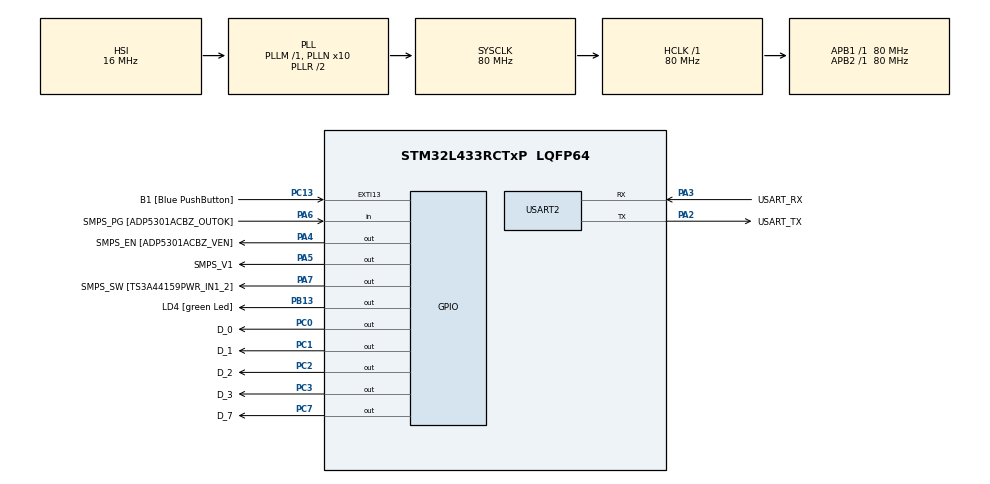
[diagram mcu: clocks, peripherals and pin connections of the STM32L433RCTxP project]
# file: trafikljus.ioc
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Mcu.Family=STM32L4
Mcu.Name=STM32L433RCTxP
Mcu.Package=LQFP64
NVIC.EXTI15_10_IRQn=true\:0\:0\:false\:false\:true\:true\:true\:true
NVIC.PriorityGroup=NVIC_PRIORITYGROUP_4
PA13\ (JTMS-SWDIO).GPIO_Label=TMS
PA13\ (JTMS-SWDIO).Mode=Serial_Wire
PA13\ (JTMS-SWDIO).Signal=SYS_JTMS-SWDIO
PA14\ (JTCK-SWCLK).GPIO_Label=TCK
PA14\ (JTCK-SWCLK).Mode=Serial_Wire
PA14\ (JTCK-SWCLK).Signal=SYS_JTCK-SWCLK
PA2.GPIO_Label=USART_TX
PA2.GPIO_Mode=GPIO_MODE_AF_PP
PA2.GPIO_PuPd=GPIO_NOPULL
PA2.GPIO_Speed=GPIO_SPEED_FREQ_VERY_HIGH
PA2.Mode=Asynchronous
PA2.Signal=USART2_TX
PA3.GPIO_Label=USART_RX
PA3.GPIO_Mode=GPIO_MODE_AF_PP
PA3.GPIO_PuPd=GPIO_NOPULL
PA3.GPIO_Speed=GPIO_SPEED_FREQ_VERY_HIGH
PA3.Mode=Asynchronous
PA3.Signal=USART2_RX
PA4.GPIO_Label=SMPS_EN [ADP5301ACBZ_VEN]
PA4.Signal=GPIO_Output
PA5.GPIO_Label=SMPS_V1
PA5.GPIO_ModeDefaultOutputPP=GPIO_MODE_OUTPUT_PP
PA5.GPIO_PuPd=GPIO_NOPULL
PA5.GPIO_Speed=GPIO_SPEED_FREQ_LOW
PA5.Signal=GPIO_Output
PA6.GPIO_Label=SMPS_PG [ADP5301ACBZ_OUTOK]
PA6.GPIO_PuPd=GPIO_PULLUP
PA6.Signal=GPIO_Input
PA7.GPIO_Label=SMPS_SW [TS3A44159PWR_IN1_2]
PA7.Signal=GPIO_Output
PB13.GPIO_Label=LD4 [green Led]
PB13.Signal=GPIO_Output
PB3\ (JTDO-TRACESWO).GPIO_Label=SWO
PB3\ (JTDO-TRACESWO).Signal=SYS_JTDO-SWO
PC0.GPIO_Label=D_0
PC0.Signal=GPIO_Output
PC1.GPIO_Label=D_1
PC1.Signal=GPIO_Output
PC13.GPIO_Label=B1 [Blue PushButton]
PC13.GPIO_ModeDefaultEXTI=GPIO_MODE_IT_FALLING
PC13.GPIO_PuPd=GPIO_NOPULL
PC13.Signal=GPXTI13
PC14-OSC32_IN\ (PC14).Mode=LSE-External-Oscillator
PC14-OSC32_IN\ (PC14).Signal=RCC_OSC32_IN
PC15-OSC32_OUT\ (PC15).Mode=LSE-External-Oscillator
PC15-OSC32_OUT\ (PC15).Signal=RCC_OSC32_OUT
PC2.GPIO_Label=D_2
PC2.Signal=GPIO_Output
PC3.GPIO_Label=D_3
PC3.Signal=GPIO_Output
PC7.GPIO_Label=D_7
PC7.Signal=GPIO_Output
PH0-OSC_IN\ (PH0).GPIO_Label=MCO
PH0-OSC_IN\ (PH0).Mode=HSE-External-Clock-Source
PH0-OSC_IN\ (PH0).Signal=RCC_OSC_IN
PH1-OSC_OUT\ (PH1).Signal=RCC_OSC_OUT
ProjectManager.HeapSize=0x200
ProjectManager.StackSize=0x400
ProjectManager.TargetToolchain=STM32CubeIDE
RCC.ADCFreq_Value=64000000
RCC.AHBFreq_Value=80000000
RCC.APB1Freq_Value=80000000
RCC.APB1TimFreq_Value=80000000
RCC.APB2Freq_Value=80000000
RCC.APB2TimFreq_Value=80000000
RCC.CortexFreq_Value=80000000
RCC.HCLKFreq_Value=80000000
RCC.HSE_VALUE=8000000
RCC.HSI48_VALUE=48000000
RCC.HSI_VALUE=16000000
RCC.MSI_VALUE=4000000
RCC.PLLN=10
RCC.PLLSourceVirtual=RCC_PLLSOURCE_HSI
RCC.PREFETCH_ENABLE=1
RCC.SYSCLKFreq_VALUE=80000000
RCC.SYSCLKSource=RCC_SYSCLKSOURCE_PLLCLK
RCC.USBFreq_Value=64000000
RCC.VCOOutputFreq_Value=160000000
USART2.VirtualMode-Asynchronous=VM_ASYNC
board=NUCLEO-L433RC-P

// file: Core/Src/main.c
/* USER CODE BEGIN Header */
/**
  ******************************************************************************
  * @file           : main.c
  * @brief          : Main program body
  ******************************************************************************
  * @attention
  *
  * Copyright (c) 2026 STMicroelectronics.
  * All rights reserved.
  *
  * This software is licensed under terms that can be found in the LICENSE file
  * in the root directory of this software component.
  * If no LICENSE file comes with this software, it is provided AS-IS.
  *
  ******************************************************************************
  */
/* USER CODE END Header */
#include "main.h"

/* USER CODE BEGIN Includes */
#include "trafikljus.h"
#include "eventState.h"
#include "eventQueue.h"
/* USER CODE END Includes */

/* USER CODE BEGIN PTD */
int is_button_pressed(void){
	return GPIOC->IDR & 1 << 13;
}
void handle_tick(enum event* pEvent, uint32_t* pLastTimeStamp, uint32_t* pCountdown) {
	uint32_t curr_tick_stamp = HAL_GetTick();
	if (curr_tick_stamp - *pLastTimeStamp > 0) {
		if (curr_tick_stamp - *pLastTimeStamp >= *pCountdown) {
			*pCountdown = 0;
			*pEvent = ev_state_timeout;
		}
		else {
			*pCountdown -= curr_tick_stamp - *pLastTimeStamp;
		}
		*pLastTimeStamp = curr_tick_stamp;
	}
}
void handle_button(enum event* pEvent, int* pLastButtonState){
	int curr_press = is_button_pressed();
	int pressed = curr_press && !*pLastButtonState;
	if ( pressed ) *pEvent = ev_button_push;
	*pLastButtonState = curr_press;
}
struct HANDLE_STATE_DESC {
	enum state* pState;
	enum event event;
	uint32_t* pLastTick;
	uint32_t* pTickLeft;
	int* pStateJustTransitioned;
};
void handle_state(struct HANDLE_STATE_DESC desc){
	switch(*desc.pState){
		case s_init:
			if (desc.event == ev_button_push) {
				*desc.pState = s_people_walk;
				*desc.pLastTick = HAL_GetTick();
			}
			break;
		case s_people_walk:
			if (!*desc.pStateJustTransitioned) {
				*desc.pTickLeft = 10000;
				*desc.pStateJustTransitioned = 1;
			}
			if (desc.event == ev_state_timeout) {
				*desc.pState = s_car_standing_by;
				*desc.pStateJustTransitioned = 0;
			}
			break;
		case s_car_standing_by:
			if (!*desc.pStateJustTransitioned) {
				*desc.pTickLeft = 2000;
				*desc.pStateJustTransitioned = 1;
			}
			if (desc.event == ev_state_timeout) {
				*desc.pState = s_people_stop;
				*desc.pStateJustTransitioned = 0;
			}
			break;
		case s_people_stop:
			if (!*desc.pStateJustTransitioned){
				*desc.pTickLeft = 1000;
				*desc.pStateJustTransitioned = 1;
			}
			if (desc.event == ev_state_timeout) {
				*desc.pState = s_car_go;
				*desc.pStateJustTransitioned = 0;
			}
			break;
		case s_car_go:
			if (desc.event == ev_button_push){
				*desc.pState = s_pushed_wait;
				*desc.pLastTick = HAL_GetTick();
			}
			break;
		case s_pushed_wait:
			if (!*desc.pStateJustTransitioned){
				*desc.pTickLeft = 2000;
				*desc.pStateJustTransitioned = 1;
			}
			if (desc.event == ev_state_timeout) {
				*desc.pState = s_car_is_about_to_stop;
				*desc.pStateJustTransitioned = 0;
			}
			break;
		case s_car_is_about_to_stop:
			if (!*desc.pStateJustTransitioned){
				*desc.pTickLeft = 1000;
				*desc.pStateJustTransitioned = 1;
			}
			if (desc.event == ev_state_timeout) {
				*desc.pState = s_car_stop;
				*desc.pStateJustTransitioned = 0;
			}
			break;
		case s_car_stop:
			if (!*desc.pStateJustTransitioned){
				*desc.pTickLeft = 2000;
				*desc.pStateJustTransitioned = 1;
			}
			if (desc.event == ev_state_timeout) {
				*desc.pState = s_people_walk;
				*desc.pStateJustTransitioned = 0;
			}
			break;
		default: break;
	  }
}
/* USER CODE END PTD */

UART_HandleTypeDef huart2;

void SystemClock_Config(void);
static void MX_GPIO_Init(void);
static void MX_USART2_UART_Init(void);

int main(void)
{

  /* MCU Configuration--------------------------------------------------------*/

  /* Reset of all peripherals, Initializes the Flash interface and the Systick. */
  HAL_Init();

  /* USER CODE BEGIN Init */
  int _initialized = 0;
  int curr_press, last_press;
  curr_press = last_press = 0;
  enum state state = s_init;
  enum event event = ev_none;
  uint32_t ticks_left_in_state, curr_tick, last_tick;
  ticks_left_in_state = curr_tick = last_tick = 0;
  /* USER CODE END Init */

  /* Configure the system clock */
  SystemClock_Config();

  /* Initialize all configured peripherals */
  MX_GPIO_Init();
  MX_USART2_UART_Init();

  /* Infinite loop */
  while (1)
  {

    /* USER CODE BEGIN 3 */
	  event = ev_none; // clear the previous event.
	  // handle timeout;
	  handle_tick(&event, &last_tick, &ticks_left_in_state);
	  // handle button press;
	  handle_button(&event, &last_press);
	  // FSM;
	  struct HANDLE_STATE_DESC handle_state_desc = {};
	  handle_state_desc.event = event;
	  handle_state_desc.pLastTick = &last_tick;
	  handle_state_desc.pState = &state;
	  handle_state_desc.pStateJustTransitioned = &_initialized;
	  handle_state_desc.pTickLeft = &ticks_left_in_state;
	  handle_state(handle_state_desc);
	  set_traffic_lights(state);
  }
  /* USER CODE END 3 */
}

void SystemClock_Config(void)
{
  RCC_OscInitTypeDef RCC_OscInitStruct = {0};
  RCC_ClkInitTypeDef RCC_ClkInitStruct = {0};

  /** Configure the main internal regulator output voltage
  */
  if (HAL_PWREx_ControlVoltageScaling(PWR_REGULATOR_VOLTAGE_SCALE1) != HAL_OK)
  {
    Error_Handler();
  }

  /** Initializes the RCC Oscillators according to the specified parameters
  * in the RCC_OscInitTypeDef structure.
  */
  RCC_OscInitStruct.OscillatorType = RCC_OSCILLATORTYPE_HSI;
  RCC_OscInitStruct.HSIState = RCC_HSI_ON;
  RCC_OscInitStruct.HSICalibrationValue = RCC_HSICALIBRATION_DEFAULT;
  RCC_OscInitStruct.PLL.PLLState = RCC_PLL_ON;
  RCC_OscInitStruct.PLL.PLLSource = RCC_PLLSOURCE_HSI;
  RCC_OscInitStruct.PLL.PLLM = 1;
  RCC_OscInitStruct.PLL.PLLN = 10;
  RCC_OscInitStruct.PLL.PLLP = RCC_PLLP_DIV7;
  RCC_OscInitStruct.PLL.PLLQ = RCC_PLLQ_DIV2;
  RCC_OscInitStruct.PLL.PLLR = RCC_PLLR_DIV2;
  if (HAL_RCC_OscConfig(&RCC_OscInitStruct) != HAL_OK)
  {
    Error_Handler();
  }

  /** Initializes the CPU, AHB and APB buses clocks
  */
  RCC_ClkInitStruct.ClockType = RCC_CLOCKTYPE_HCLK|RCC_CLOCKTYPE_SYSCLK
                              |RCC_CLOCKTYPE_PCLK1|RCC_CLOCKTYPE_PCLK2;
  RCC_ClkInitStruct.SYSCLKSource = RCC_SYSCLKSOURCE_PLLCLK;
  RCC_ClkInitStruct.AHBCLKDivider = RCC_SYSCLK_DIV1;
  RCC_ClkInitStruct.APB1CLKDivider = RCC_HCLK_DIV1;
  RCC_ClkInitStruct.APB2CLKDivider = RCC_HCLK_DIV1;

  if (HAL_RCC_ClockConfig(&RCC_ClkInitStruct, FLASH_LATENCY_4) != HAL_OK)
  {
    Error_Handler();
  }
}

static void MX_USART2_UART_Init(void)
{

  huart2.Instance = USART2;
  huart2.Init.BaudRate = 115200;
  huart2.Init.WordLength = UART_WORDLENGTH_8B;
  huart2.Init.StopBits = UART_STOPBITS_1;
  huart2.Init.Parity = UART_PARITY_NONE;
  huart2.Init.Mode = UART_MODE_TX_RX;
  huart2.Init.HwFlowCtl = UART_HWCONTROL_NONE;
  huart2.Init.OverSampling = UART_OVERSAMPLING_16;
  huart2.Init.OneBitSampling = UART_ONE_BIT_SAMPLE_DISABLE;
  huart2.AdvancedInit.AdvFeatureInit = UART_ADVFEATURE_NO_INIT;
  if (HAL_UART_Init(&huart2) != HAL_OK)
  {
    Error_Handler();
  }

}

static void MX_GPIO_Init(void)
{
  GPIO_InitTypeDef GPIO_InitStruct = {0};

  /* GPIO Ports Clock Enable */
  __HAL_RCC_GPIOC_CLK_ENABLE();
  __HAL_RCC_GPIOH_CLK_ENABLE();
  __HAL_RCC_GPIOA_CLK_ENABLE();
  __HAL_RCC_GPIOB_CLK_ENABLE();

  /*Configure GPIO pin Output Level */
  HAL_GPIO_WritePin(GPIOC, D_0_Pin|D_1_Pin|D_2_Pin|D_3_Pin
                          |D_7_Pin, GPIO_PIN_RESET);

  /*Configure GPIO pin Output Level */
  HAL_GPIO_WritePin(GPIOA, SMPS_EN_Pin|SMPS_V1_Pin|SMPS_SW_Pin, GPIO_PIN_RESET);

  /*Configure GPIO pin Output Level */
  HAL_GPIO_WritePin(LD4_GPIO_Port, LD4_Pin, GPIO_PIN_RESET);

  /*Configure GPIO pin : B1_Pin */
  GPIO_InitStruct.Pin = B1_Pin;
  GPIO_InitStruct.Mode = GPIO_MODE_IT_FALLING;
  GPIO_InitStruct.Pull = GPIO_NOPULL;
  HAL_GPIO_Init(B1_GPIO_Port, &GPIO_InitStruct);

  /*Configure GPIO pins : D_0_Pin D_1_Pin D_2_Pin D_3_Pin
                           D_7_Pin */
  GPIO_InitStruct.Pin = D_0_Pin|D_1_Pin|D_2_Pin|D_3_Pin
                          |D_7_Pin;
  GPIO_InitStruct.Mode = GPIO_MODE_OUTPUT_PP;
  GPIO_InitStruct.Pull = GPIO_NOPULL;
  GPIO_InitStruct.Speed = GPIO_SPEED_FREQ_LOW;
  HAL_GPIO_Init(GPIOC, &GPIO_InitStruct);

  /*Configure GPIO pins : SMPS_EN_Pin SMPS_V1_Pin SMPS_SW_Pin */
  GPIO_InitStruct.Pin = SMPS_EN_Pin|SMPS_V1_Pin|SMPS_SW_Pin;
  GPIO_InitStruct.Mode = GPIO_MODE_OUTPUT_PP;
  GPIO_InitStruct.Pull = GPIO_NOPULL;
  GPIO_InitStruct.Speed = GPIO_SPEED_FREQ_LOW;
  HAL_GPIO_Init(GPIOA, &GPIO_InitStruct);

  /*Configure GPIO pin : SMPS_PG_Pin */
  GPIO_InitStruct.Pin = SMPS_PG_Pin;
  GPIO_InitStruct.Mode = GPIO_MODE_INPUT;
  GPIO_InitStruct.Pull = GPIO_PULLUP;
  HAL_GPIO_Init(SMPS_PG_GPIO_Port, &GPIO_InitStruct);

  /*Configure GPIO pin : LD4_Pin */
  GPIO_InitStruct.Pin = LD4_Pin;
  GPIO_InitStruct.Mode = GPIO_MODE_OUTPUT_PP;
  GPIO_InitStruct.Pull = GPIO_NOPULL;
  GPIO_InitStruct.Speed = GPIO_SPEED_FREQ_LOW;
  HAL_GPIO_Init(LD4_GPIO_Port, &GPIO_InitStruct);

  /* EXTI interrupt init*/
  HAL_NVIC_SetPriority(EXTI15_10_IRQn, 0, 0);
  HAL_NVIC_EnableIRQ(EXTI15_10_IRQn);

}

void Error_Handler(void)
{
  __disable_irq();
  while (1)
  {
  }
}
